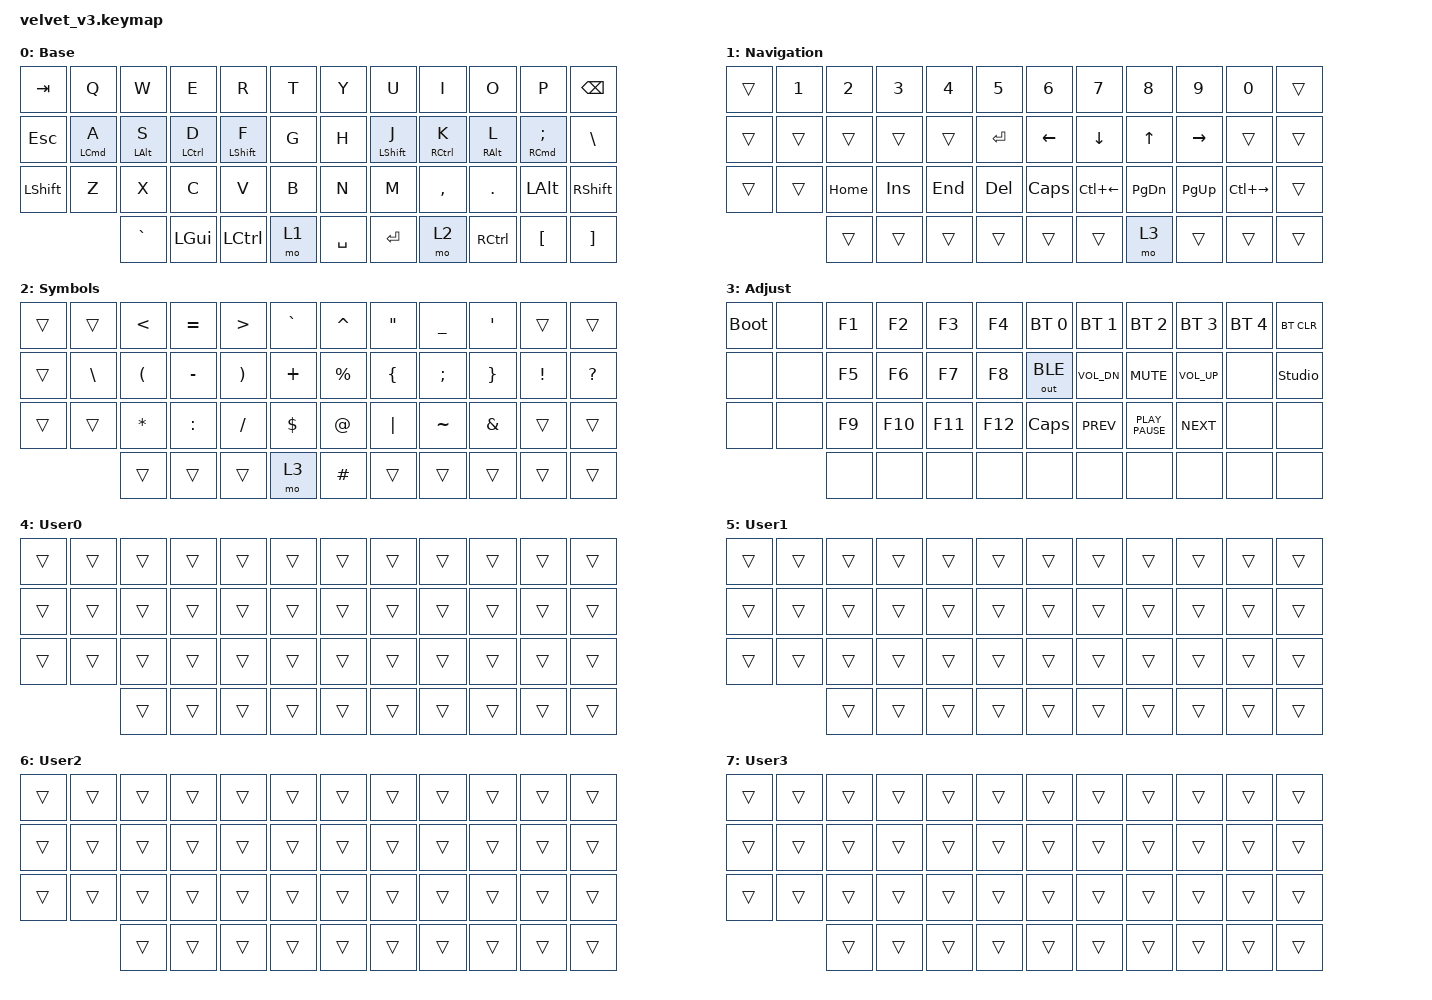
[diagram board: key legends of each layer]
#include <behaviors.dtsi>
#include <dt-bindings/zmk/bt.h>
#include <dt-bindings/zmk/keys.h>
#include <dt-bindings/zmk/outputs.h>

/ {
    behaviors {
        home_row_mode: home_row_mode {
            compatible = "zmk,behavior-hold-tap";
            label = "HOME_ROW_MODE";
            bindings = <&kp>, <&kp>;

            #binding-cells = <2>;
            tapping-term-ms = <300>;
            quick-tap-ms = <175>;
            require-prior-idle-ms = <150>;
            flavor = "balanced";
            hold-trigger-key-positions = <6 7 8 9 10 10 11 22 23 34 35 6 7 8 9 10 18 19 20 21 22 30 31 32 33 34 44 45 0 1 2 3 4 5 12 13 14 15 16 17 24 25 26 27 28 29 36 37 38 39 40 41 42 43>;
        };
    };

    keymap {
        compatible = "zmk,keymap";

        Base {
            bindings = <
&kp TAB     &kp Q                          &kp W                      &kp E                          &kp R                        &kp T                        &kp Y  &kp U                        &kp I                           &kp O                       &kp P                              &kp BSPC
&kp ESCAPE  &home_row_mode LEFT_COMMAND A  &home_row_mode LEFT_ALT S  &home_row_mode LEFT_CONTROL D  &home_row_mode LEFT_SHIFT F  &kp G                        &kp H  &home_row_mode LEFT_SHIFT J  &home_row_mode RIGHT_CONTROL K  &home_row_mode RIGHT_ALT L  &home_row_mode RIGHT_COMMAND SEMI  &kp BSLH
&kp LSHFT   &kp Z                          &kp X                      &kp C                          &kp V                        &kp B                        &kp N  &kp M                        &kp COMMA                       &kp DOT                     &kp LALT                           &kp RSHFT
                                           &kp GRAVE                  &kp LGUI                       &kp LCTRL                    &mo 1  &kp SPACE    &kp RET  &mo 2  &kp RCTRL                    &kp LBKT                        &kp RBKT
            >;

            label = "Base";
        };

        Navigation {
            bindings = <
&trans  &kp N1  &kp N2    &kp N3   &kp N4   &kp N5                     &kp N6    &kp N7        &kp N8         &kp N9       &kp N0         &trans
&trans  &trans  &trans    &trans   &trans   &kp RET                    &kp LEFT  &kp DOWN      &kp UP_ARROW   &kp RIGHT    &trans         &trans
&trans  &trans  &kp HOME  &kp INS  &kp END  &kp DEL                    &kp CLCK  &kp LC(LEFT)  &kp PAGE_DOWN  &kp PAGE_UP  &kp LC(RIGHT)  &trans
                &trans    &trans   &trans   &trans   &trans    &trans  &mo 3     &trans        &trans         &trans
            >;

            label = "Navigation";
        };

        Symbols {
            bindings = <
&trans  &trans    &kp LT    &kp EQUAL  &kp GT    &kp GRAVE                      &kp CARET  &kp DQT   &kp UNDER  &kp SQT   &trans    &trans
&trans  &kp BSLH  &kp LPAR  &kp MINUS  &kp RPAR  &kp PLUS                       &kp PRCNT  &kp LBRC  &kp SEMI   &kp RBRC  &kp EXCL  &kp QUESTION
&trans  &trans    &kp STAR  &kp COLON  &kp FSLH  &kp DLLR                       &kp AT     &kp PIPE  &kp TILDE  &kp AMPS  &trans    &trans
                  &trans    &trans     &trans    &mo 3      &kp HASH    &trans  &trans     &trans    &trans     &trans
            >;

            label = "Symbols";
        };

        Adjust {
            bindings = <
&bootloader  &none  &kp F1  &kp F2   &kp F3   &kp F4                   &bt BT_SEL 0  &bt BT_SEL 1  &bt BT_SEL 2      &bt BT_SEL 3  &bt BT_SEL 4  &bt BT_CLR
&none        &none  &kp F5  &kp F6   &kp F7   &kp F8                   &out OUT_BLE  &kp C_VOL_DN  &kp K_MUTE        &kp C_VOL_UP  &none         &studio_unlock
&none        &none  &kp F9  &kp F10  &kp F11  &kp F12                  &kp CAPSLOCK  &kp K_PREV    &kp K_PLAY_PAUSE  &kp K_NEXT    &none         &none
                    &none   &none    &none    &none    &none    &none  &none         &none         &none             &none
            >;

            label = "Adjust";
        };

        User0 {
            bindings = <
&trans  &trans  &trans  &trans  &trans  &trans                    &trans  &trans  &trans  &trans  &trans  &trans
&trans  &trans  &trans  &trans  &trans  &trans                    &trans  &trans  &trans  &trans  &trans  &trans
&trans  &trans  &trans  &trans  &trans  &trans                    &trans  &trans  &trans  &trans  &trans  &trans
                &trans  &trans  &trans  &trans  &trans    &trans  &trans  &trans  &trans  &trans
            >;

            label = "User0";
        };

        User1 {
            bindings = <
&trans  &trans  &trans  &trans  &trans  &trans                    &trans  &trans  &trans  &trans  &trans  &trans
&trans  &trans  &trans  &trans  &trans  &trans                    &trans  &trans  &trans  &trans  &trans  &trans
&trans  &trans  &trans  &trans  &trans  &trans                    &trans  &trans  &trans  &trans  &trans  &trans
                &trans  &trans  &trans  &trans  &trans    &trans  &trans  &trans  &trans  &trans
            >;

            label = "User1";
        };

        User2 {
            bindings = <
&trans  &trans  &trans  &trans  &trans  &trans                    &trans  &trans  &trans  &trans  &trans  &trans
&trans  &trans  &trans  &trans  &trans  &trans                    &trans  &trans  &trans  &trans  &trans  &trans
&trans  &trans  &trans  &trans  &trans  &trans                    &trans  &trans  &trans  &trans  &trans  &trans
                &trans  &trans  &trans  &trans  &trans    &trans  &trans  &trans  &trans  &trans
            >;

            label = "User2";
        };

        User3 {
            bindings = <
&trans  &trans  &trans  &trans  &trans  &trans                    &trans  &trans  &trans  &trans  &trans  &trans
&trans  &trans  &trans  &trans  &trans  &trans                    &trans  &trans  &trans  &trans  &trans  &trans
&trans  &trans  &trans  &trans  &trans  &trans                    &trans  &trans  &trans  &trans  &trans  &trans
                &trans  &trans  &trans  &trans  &trans    &trans  &trans  &trans  &trans  &trans
            >;

            label = "User3";
        };
    };
};
